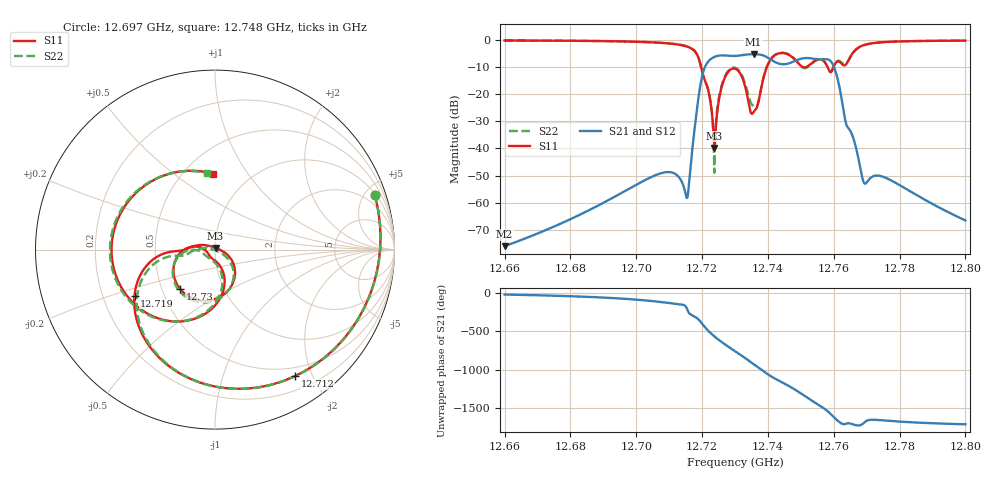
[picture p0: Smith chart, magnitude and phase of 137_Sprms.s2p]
! TOUCHSTONE file generated by CST MICROWAVE STUDIO
! Date and time: Wed Jul 31 17:43:50 2024
! Project name: WaveGuide_BPF-Ver4.1_U-shape_Ku_T3_C4_CWA_2.cst
! Parameters = {cavity_h=16; cavity_l0=10; cavity_l1=15.2045; cavity_l2=16.8088; cavity_l3=17.0663; cavity_l4=17.2249; cavity_l5=17.1023; cavity_l6=17.5613; cavity_r=2.5; cavity_screw_l=0.5; cavity_screw_r=1.5; cavity_w=8; iris_h00=0; iris_h01=8.8021; iris_h112=0; iris_h12=5.5863; iris_h211=3.6536; 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
! Header version: 2018
! Port assignment regex: !\s*Touchstone port\s*([0-9]+)\s*=\s*(CST MWS port|CST DS port)\s*([0-9]+|Zmin|Zmax)\s*\(\"(.*)\"\)(\s*mode\s*([0-9]+))?.*
! Touchstone port assignment:
! Touchstone port 1 = CST MWS port 1 ("")
! Touchstone port 2 = CST MWS port 2 ("")
# GHz S RI R 50
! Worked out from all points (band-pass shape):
!   5001 points, 12.66 GHz to 12.8 GHz, reference 50 ohm
!   highest |S21| = -5.22 dB at 12.736 GHz (marker M1); lowest = -76.0 dB at 12.66 GHz (marker M2)
!   |S21| within 3 dB of the highest: 12.72168 GHz to 12.74235 GHz (20.67 MHz wide, 0.162 % of centre); 12.74722 GHz to 12.75936 GHz (12.14 MHz wide, 0.0952 % of centre)
!   lowest |S11| = -39.8 dB at 12.724 GHz (marker M3), VSWR 1.02, Z = 50.3 + j0.965 ohm
!   |S11| at or under -10 dB: 12.71972 GHz to 12.73966 GHz (19.94 MHz wide, 0.157 % of centre); 12.75072 GHz to 12.75157 GHz (850.1 kHz wide, 0.00667 % of centre); 12.75812 GHz to 12.75997 GHz (1.846 MHz wide, 0.0145 % of centre)
!   |S22| runs from -48.9 to -0.1 dB; largest |S21 - S12| = 1e-09
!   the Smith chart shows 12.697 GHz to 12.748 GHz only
!   S11 on the Smith chart (normalised r, x): 12.697 GHz: 1.08, +5.77; 12.712 GHz: 0.38, -1.76; 12.719 GHz: 0.34, -0.24; 12.73 GHz: 0.62, -0.30; 12.748 GHz: 0.68, +0.70
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12.66  0.2595 0.9483  0.000149 -5.13e-05  0.000149 -5.13e-05  0.2615 0.9477
12.68335  0.6356 0.7291  0.000432 -0.000446  0.000432 -0.000446  0.6373 0.7277
12.69718  0.8892 0.3066  0.000399 -0.00167  0.000399 -0.00167  0.8899 0.3057
12.70668  0.8473 -0.2892  -0.00131 -0.0031  -0.00131 -0.0031  0.8496 -0.2861
12.7123  0.4463 -0.7043  -0.00254 -0.00203  -0.00254 -0.00203  0.4581 -0.7002
12.71552  -0.0366 -0.7546  -0.00101 0.000737  -0.00101 0.000737  -0.0165 -0.7595
12.71863  -0.4485 -0.2561  0.0586 0.0283  0.0586 0.0283  -0.4355 -0.2751
12.72376  0.00354 0.00958  -0.4351 0.2241  -0.4351 0.2241  0.000891 -0.00407
12.72619  0.1101 -0.1064  0.1632 0.496  0.1632 0.496  0.1036 -0.1263
12.73  -0.1774 -0.2376  0.3929 -0.3242  0.3929 -0.3242  -0.1794 -0.25
12.7302  -0.1927 -0.2215  0.36 -0.3613  0.36 -0.3613  -0.1944 -0.235
12.73563  -0.0279 -0.0374  -0.4796 0.2661  -0.4796 0.2661  -0.0471 -0.038
12.74025  -0.079 -0.3712  0.4545 0.0827  0.4545 0.0827  -0.0958 -0.3744
12.74442  -0.576 0.0183  -0.00606 -0.3578  -0.00606 -0.3578  -0.5848 0.0101
12.74842  -0.0107 0.4223  -0.4127 0.06  -0.4127 0.06  -0.0431 0.4262
12.75335  0.1603 -0.3414  0.3867 0.2454  0.3867 0.2454  0.1517 -0.3355
12.75752  -0.3323 -0.164  0.0418 -0.441  0.0418 -0.441  -0.3419 -0.1513
12.76122  -0.4011 0.0313  -0.1184 0.1457  -0.1184 0.1457  -0.4107 0.0516
12.76548  0.4557 -0.2959  0.000887 0.0185  0.000887 0.0185  0.4656 -0.2648
12.76931  -0.1519 -0.7989  -0.000692 0.00216  -0.000692 0.00216  -0.138 -0.7964
12.77668  -0.7662 -0.5218  -0.0017 0.00213  -0.0017 0.00213  -0.766 -0.5209
12.8  -0.9593 0.186  5.87e-05 0.000467  5.87e-05 0.000467  -0.9586 0.19
